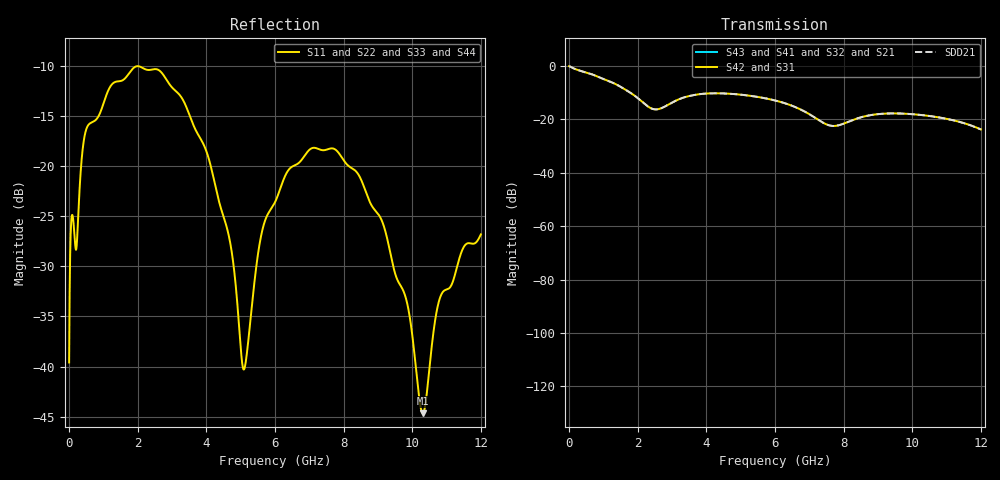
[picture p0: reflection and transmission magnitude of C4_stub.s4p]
! SYNTHETIC PCB; not extracted/measured; no fixture or crosstalk.
! Port 1=TX+, 2=TX-, 3=RX+, 4=RX-. Differential reference 100 ohm.
# Hz S RI R 50
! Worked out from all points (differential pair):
!   2400 points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, 5 MHz to 12 GHz, reference 50 ohm
!   strongest paths, dB at 5 MHz, 3.005 GHz, 6.005 GHz, 9.005 GHz, 12 GHz:
!     S42: -0.1, -13.7, -12.9, -18.0, -23.8
!     S31: -0.1, -13.7, -12.9, -18.0, -23.8
!     S43: -, -, -, -, -
!     S41: -, -, -, -, -
!     S32: -, -, -, -, -
!     S21: -, -, -, -, -
!   taken as a pair (ports 2,1 in; 4,3 out), SDD21 dB: -0.1, -13.7, -12.9, -18.0, -23.8
!   lowest |S11| = -44.7 dB at 10.31 GHz (marker M1), VSWR 1.01, Z = 50.3 + j0.495 ohm
!   |S11| at or under -10 dB: start of sweep to end of sweep
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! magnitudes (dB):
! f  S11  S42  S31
! 5 MHz  -39.6  -0.1  -0.1
! 515 MHz  -16.2  -2.5  -2.5
! 2.56 GHz  -10.4  -16.3  -16.3
! 5.09 GHz  -40.3  -10.9  -10.9
! 7.695 GHz  -18.3  -22.5  -22.5
! 10.31 GHz  -44.7  -18.4  -18.4
! 12 GHz  -26.8  -23.8  -23.8
